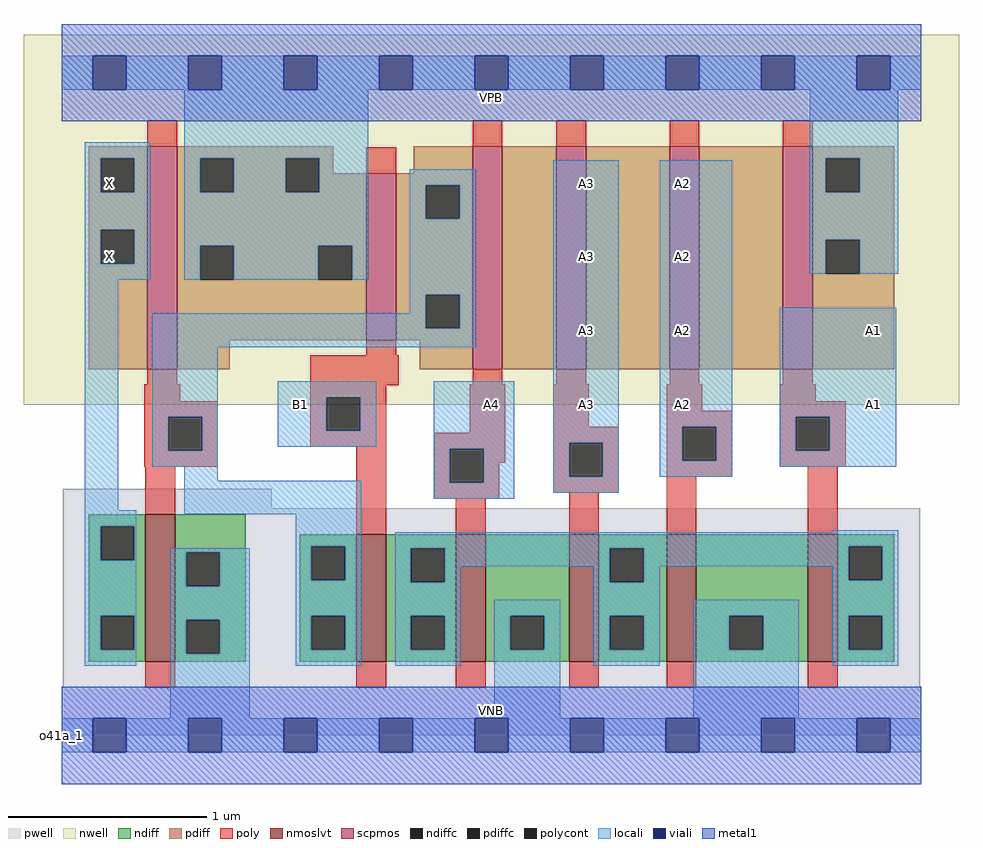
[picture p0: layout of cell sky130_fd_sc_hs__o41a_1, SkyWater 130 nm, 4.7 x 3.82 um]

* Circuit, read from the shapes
.subckt sky130_fd_sc_hs__o41a_1 A1 A2 A3 A4 B1 VGND VNB VPB VPWR X
XM1 VGND n1 X VNB sky130_fd_pr__nfet_01v8_lvt w=0.74 l=0.15
XM2 n2 B1 n1 VNB sky130_fd_pr__nfet_01v8_lvt w=0.64 l=0.15
XM3 VGND A4 n2 VNB sky130_fd_pr__nfet_01v8_lvt w=0.64 l=0.15
XM4 n2 A3 VGND VNB sky130_fd_pr__nfet_01v8_lvt w=0.64 l=0.15
XM5 VGND A2 n2 VNB sky130_fd_pr__nfet_01v8_lvt w=0.64 l=0.15
XM6 n2 A1 VGND VNB sky130_fd_pr__nfet_01v8_lvt w=0.64 l=0.15
XM7 VPWR n1 X VPB sky130_fd_pr__pfet_01v8 w=1.12 l=0.15
XM8 n1 B1 VPWR VPB sky130_fd_pr__pfet_01v8 w=0.84 l=0.15
XM9 n3 A4 n1 VPB sky130_fd_pr__pfet_01v8 w=1.12 l=0.15
XM10 n4 A3 n3 VPB sky130_fd_pr__pfet_01v8 w=1.12 l=0.15
XM11 n5 A2 n4 VPB sky130_fd_pr__pfet_01v8 w=1.12 l=0.15
XM12 VPWR A1 n5 VPB sky130_fd_pr__pfet_01v8 w=1.12 l=0.15
.ends

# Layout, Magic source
magic
tech sky130A
magscale 1 2
<< nwell >>
rect -38 332 902 704
<< pwell >>
rect 1 228 211 248
rect 1 49 863 228
rect 0 0 864 49
<< scpmos >>
rect 86 368 116 592
rect 306 397 336 565
rect 413 368 443 592
rect 497 368 527 592
rect 611 368 641 592
rect 725 368 755 592
<< nmoslvt >>
rect 84 74 114 222
rect 296 74 326 202
rect 396 74 426 202
rect 510 74 540 202
rect 608 74 638 202
rect 750 74 780 202
<< ndiff >>
rect 27 210 84 222
rect 27 176 39 210
rect 73 176 84 210
rect 27 120 84 176
rect 27 86 39 120
rect 73 86 84 120
rect 27 74 84 86
rect 114 184 185 222
rect 114 150 125 184
rect 159 150 185 184
rect 114 116 185 150
rect 114 82 125 116
rect 159 82 185 116
rect 114 74 185 82
rect 239 190 296 202
rect 239 156 251 190
rect 285 156 296 190
rect 239 120 296 156
rect 239 86 251 120
rect 285 86 296 120
rect 239 74 296 86
rect 326 188 396 202
rect 326 154 351 188
rect 385 154 396 188
rect 326 120 396 154
rect 326 86 351 120
rect 385 86 396 120
rect 326 74 396 86
rect 426 120 510 202
rect 426 86 451 120
rect 485 86 510 120
rect 426 74 510 86
rect 540 188 608 202
rect 540 154 551 188
rect 585 154 608 188
rect 540 120 608 154
rect 540 86 551 120
rect 585 86 608 120
rect 540 74 608 86
rect 638 120 750 202
rect 638 86 671 120
rect 705 86 750 120
rect 638 74 750 86
rect 780 190 837 202
rect 780 156 791 190
rect 825 156 837 190
rect 780 120 837 156
rect 780 86 791 120
rect 825 86 837 120
rect 780 74 837 86
<< pdiff >>
rect 27 580 86 592
rect 27 546 39 580
rect 73 546 86 580
rect 27 508 86 546
rect 27 474 39 508
rect 73 474 86 508
rect 27 368 86 474
rect 116 580 273 592
rect 116 546 139 580
rect 173 546 225 580
rect 259 565 273 580
rect 354 565 413 592
rect 259 546 306 565
rect 116 492 306 546
rect 116 458 139 492
rect 173 458 258 492
rect 292 458 306 492
rect 116 397 306 458
rect 336 553 413 565
rect 336 519 366 553
rect 400 519 413 553
rect 336 443 413 519
rect 336 409 366 443
rect 400 409 413 443
rect 336 397 413 409
rect 116 368 169 397
rect 360 368 413 397
rect 443 368 497 592
rect 527 368 611 592
rect 641 368 725 592
rect 755 580 837 592
rect 755 546 768 580
rect 802 546 837 580
rect 755 498 837 546
rect 755 464 768 498
rect 802 464 837 498
rect 755 368 837 464
<< ndiffc >>
rect 39 176 73 210
rect 39 86 73 120
rect 125 150 159 184
rect 125 82 159 116
rect 251 156 285 190
rect 251 86 285 120
rect 351 154 385 188
rect 351 86 385 120
rect 451 86 485 120
rect 551 154 585 188
rect 551 86 585 120
rect 671 86 705 120
rect 791 156 825 190
rect 791 86 825 120
<< pdiffc >>
rect 39 546 73 580
rect 39 474 73 508
rect 139 546 173 580
rect 225 546 259 580
rect 139 458 173 492
rect 258 458 292 492
rect 366 519 400 553
rect 366 409 400 443
rect 768 546 802 580
rect 768 464 802 498
<< poly >>
rect 86 592 116 618
rect 413 592 443 618
rect 497 592 527 618
rect 611 592 641 618
rect 725 592 755 618
rect 306 565 336 591
rect 306 382 336 397
rect 86 353 116 368
rect 83 336 119 353
rect 250 352 339 382
rect 413 353 443 368
rect 497 353 527 368
rect 611 353 641 368
rect 725 353 755 368
rect 250 340 326 352
rect 83 320 157 336
rect 83 286 107 320
rect 141 286 157 320
rect 250 306 266 340
rect 300 306 326 340
rect 250 290 326 306
rect 410 304 446 353
rect 83 270 157 286
rect 84 222 114 270
rect 296 202 326 290
rect 374 288 446 304
rect 374 254 390 288
rect 424 274 446 288
rect 494 310 530 353
rect 608 326 644 353
rect 722 336 758 353
rect 608 310 674 326
rect 494 294 560 310
rect 424 254 440 274
rect 374 238 440 254
rect 494 260 510 294
rect 544 260 560 294
rect 494 244 560 260
rect 608 276 624 310
rect 658 276 674 310
rect 608 260 674 276
rect 722 320 788 336
rect 722 286 738 320
rect 772 286 788 320
rect 722 270 788 286
rect 396 202 426 238
rect 510 202 540 244
rect 608 202 638 260
rect 750 202 780 270
rect 84 48 114 74
rect 296 48 326 74
rect 396 48 426 74
rect 510 48 540 74
rect 608 48 638 74
rect 750 48 780 74
<< polycont >>
rect 107 286 141 320
rect 266 306 300 340
rect 390 254 424 288
rect 510 260 544 294
rect 624 276 658 310
rect 738 286 772 320
<< locali >>
rect 0 649 31 683
rect 65 649 127 683
rect 161 649 223 683
rect 257 649 319 683
rect 353 649 415 683
rect 449 649 511 683
rect 545 649 607 683
rect 641 649 703 683
rect 737 649 799 683
rect 833 649 864 683
rect 23 580 89 596
rect 23 546 39 580
rect 73 546 89 580
rect 23 508 89 546
rect 23 474 39 508
rect 73 474 89 508
rect 23 458 89 474
rect 123 580 308 649
rect 123 546 139 580
rect 173 546 225 580
rect 259 546 308 580
rect 752 580 841 649
rect 123 492 308 546
rect 123 458 139 492
rect 173 458 258 492
rect 292 458 308 492
rect 350 553 416 569
rect 350 519 366 553
rect 400 519 416 553
rect 23 226 57 458
rect 350 443 416 519
rect 350 424 366 443
rect 91 409 366 424
rect 400 409 416 443
rect 91 390 416 409
rect 91 320 157 390
rect 91 286 107 320
rect 141 286 157 320
rect 217 340 316 356
rect 217 306 266 340
rect 300 306 316 340
rect 217 290 316 306
rect 91 270 157 286
rect 123 256 157 270
rect 374 288 455 356
rect 23 210 75 226
rect 123 222 301 256
rect 374 254 390 288
rect 424 254 455 288
rect 374 238 455 254
rect 494 294 560 578
rect 494 260 510 294
rect 544 260 560 294
rect 601 310 674 578
rect 752 546 768 580
rect 802 546 841 580
rect 752 498 841 546
rect 752 464 768 498
rect 802 464 841 498
rect 601 276 624 310
rect 658 276 674 310
rect 601 260 674 276
rect 722 320 839 430
rect 722 286 738 320
rect 772 286 839 320
rect 722 270 839 286
rect 494 244 560 260
rect 23 176 39 210
rect 73 176 75 210
rect 235 190 301 222
rect 775 204 841 206
rect 23 120 75 176
rect 23 86 39 120
rect 73 86 75 120
rect 23 70 75 86
rect 109 184 189 188
rect 109 150 125 184
rect 159 150 189 184
rect 109 116 189 150
rect 109 82 125 116
rect 159 82 189 116
rect 109 17 189 82
rect 235 156 251 190
rect 285 156 301 190
rect 235 120 301 156
rect 235 86 251 120
rect 285 86 301 120
rect 235 70 301 86
rect 335 190 841 204
rect 335 188 791 190
rect 335 154 351 188
rect 385 170 551 188
rect 385 154 401 170
rect 335 120 401 154
rect 535 154 551 170
rect 585 170 791 188
rect 585 154 601 170
rect 335 86 351 120
rect 385 86 401 120
rect 335 70 401 86
rect 435 120 501 136
rect 435 86 451 120
rect 485 86 501 120
rect 435 17 501 86
rect 535 120 601 154
rect 775 156 791 170
rect 825 156 841 190
rect 535 86 551 120
rect 585 86 601 120
rect 535 70 601 86
rect 635 120 741 136
rect 635 86 671 120
rect 705 86 741 120
rect 635 17 741 86
rect 775 120 841 156
rect 775 86 791 120
rect 825 86 841 120
rect 775 70 841 86
rect 0 -17 31 17
rect 65 -17 127 17
rect 161 -17 223 17
rect 257 -17 319 17
rect 353 -17 415 17
rect 449 -17 511 17
rect 545 -17 607 17
rect 641 -17 703 17
rect 737 -17 799 17
rect 833 -17 864 17
<< viali >>
rect 31 649 65 683
rect 127 649 161 683
rect 223 649 257 683
rect 319 649 353 683
rect 415 649 449 683
rect 511 649 545 683
rect 607 649 641 683
rect 703 649 737 683
rect 799 649 833 683
rect 31 -17 65 17
rect 127 -17 161 17
rect 223 -17 257 17
rect 319 -17 353 17
rect 415 -17 449 17
rect 511 -17 545 17
rect 607 -17 641 17
rect 703 -17 737 17
rect 799 -17 833 17
<< metal1 >>
rect 0 683 864 715
rect 0 649 31 683
rect 65 649 127 683
rect 161 649 223 683
rect 257 649 319 683
rect 353 649 415 683
rect 449 649 511 683
rect 545 649 607 683
rect 641 649 703 683
rect 737 649 799 683
rect 833 649 864 683
rect 0 617 864 649
rect 0 17 864 49
rect 0 -17 31 17
rect 65 -17 127 17
rect 161 -17 223 17
rect 257 -17 319 17
rect 353 -17 415 17
rect 449 -17 511 17
rect 545 -17 607 17
rect 641 -17 703 17
rect 737 -17 799 17
rect 833 -17 864 17
rect 0 -49 864 -17
<< labels >>
rlabel comment s 0 0 0 0 4 o41a_1
flabel pwell s 0 0 864 49 0 FreeSans 200 0 0 0 VNB
port 7 nsew ground bidirectional
flabel nwell s 0 617 864 666 0 FreeSans 200 0 0 0 VPB
port 8 nsew power bidirectional
flabel metal1 s 0 617 864 666 0 FreeSans 340 0 0 0 VPWR
port 9 nsew power bidirectional
flabel metal1 s 0 0 864 49 0 FreeSans 340 0 0 0 VGND
port 6 nsew ground bidirectional
flabel locali s 415 316 449 350 0 FreeSans 340 0 0 0 A4
port 4 nsew signal input
flabel locali s 223 316 257 350 0 FreeSans 340 0 0 0 B1
port 5 nsew signal input
flabel locali s 799 316 833 350 0 FreeSans 340 0 0 0 A1
port 1 nsew signal input
flabel locali s 799 390 833 424 0 FreeSans 340 0 0 0 A1
port 1 nsew signal input
flabel locali s 511 316 545 350 0 FreeSans 340 0 0 0 A3
port 3 nsew signal input
flabel locali s 511 390 545 424 0 FreeSans 340 0 0 0 A3
port 3 nsew signal input
flabel locali s 511 464 545 498 0 FreeSans 340 0 0 0 A3
port 3 nsew signal input
flabel locali s 511 538 545 572 0 FreeSans 340 0 0 0 A3
port 3 nsew signal input
flabel locali s 607 316 641 350 0 FreeSans 340 0 0 0 A2
port 2 nsew signal input
flabel locali s 607 390 641 424 0 FreeSans 340 0 0 0 A2
port 2 nsew signal input
flabel locali s 607 464 641 498 0 FreeSans 340 0 0 0 A2
port 2 nsew signal input
flabel locali s 607 538 641 572 0 FreeSans 340 0 0 0 A2
port 2 nsew signal input
flabel locali s 31 464 65 498 0 FreeSans 340 0 0 0 X
port 10 nsew signal output
flabel locali s 31 538 65 572 0 FreeSans 340 0 0 0 X
port 10 nsew signal output
<< properties >>
string LEFsite unit
string LEFclass CORE
string FIXED_BBOX 0 0 864 666
string GDS_FILE $PDKPATH/libs.ref/sky130_fd_sc_hs/gds/sky130_fd_sc_hs.gds
string LEFsymmetry X Y
string GDS_END 383066
string GDS_START 374794
<< end >>
